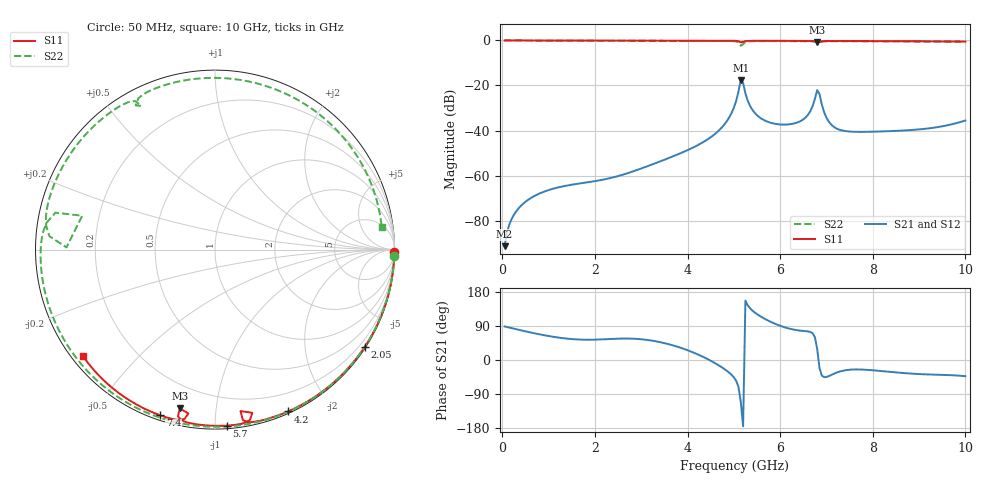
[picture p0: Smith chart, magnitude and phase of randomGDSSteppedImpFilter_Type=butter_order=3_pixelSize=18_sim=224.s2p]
! freq	dB(S11)	phase(S11)	dB(S12)	phase(S12)
!  dB(S21)	phase(S21)	dB(S22)	phase(S22)
!S-par simulation data
#  GHz  S  DB  R 50
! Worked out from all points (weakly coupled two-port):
!   200 points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, 50 MHz to 10 GHz, reference 50 ohm
!   highest |S21| = -17.56 dB at 5.15 GHz (marker M1); lowest = -91.4 dB at 50 MHz (marker M2)
!   lowest |S11| = -0.9 dB at 6.8 GHz (marker M3), VSWR 20.29, Z = 4.05 - j40 ohm
!   |S11| at or under -10 dB: nowhere
!   |S22| runs from -2.3 to 0.0 dB; largest |S21 - S12| = 0
!   S11 on the Smith chart (normalised r, x): 50 MHz: open; 2.05 GHz: 0.03, -3.37; 4.2 GHz: 0.02, -1.55; 5.7 GHz: 0.02, -1.07; 7.4 GHz: 0.02, -0.72; 10 GHz: 0.03, -0.35
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0.05  -0.00 -0.8  -91.36 88.5  -91.36 88.5  -0.00 -2.1
0.2  -0.00 -3.3  -79.37 84.1  -79.37 84.1  -0.01 -8.5
0.75  -0.02 -12.2  -68.47 69.1  -68.47 69.1  -0.04 -31.6
1.75  -0.04 -28.3  -63.27 53.6  -63.27 53.6  -0.09 -71.7
2.05  -0.04 -33.0  -62.30 53.9  -62.30 53.9  -0.10 -83.1
3.4  -0.07 -53.8  -53.79 47.3  -53.79 47.3  -0.16 -130.9
4.2  -0.09 -65.7  -46.74 15.9  -46.74 15.9  -0.19 -157.5
4.75  -0.11 -73.9  -38.41 -20.1  -38.41 -20.1  -0.23 -176.0
5.05  -0.20 -79.3  -26.86 -54.9  -26.86 -54.9  -0.44 171.0
5.15  -0.81 -81.0  -17.56 -110.8  -17.56 -110.8  -2.34 165.7
5.2  -0.61 -77.1  -18.90 -175.1  -18.90 -175.1  -1.65 179.2
5.3  -0.20 -79.7  -26.78 144.3  -26.78 144.3  -0.44 171.9
5.4  -0.16 -81.6  -30.79 130.5  -30.79 130.5  -0.33 167.0
5.7  -0.15 -86.2  -35.86 106.5  -35.86 106.5  -0.29 155.8
6.35  -0.18 -95.4  -36.58 78.9  -36.58 78.9  -0.32 133.5
6.7  -0.29 -101.2  -29.22 70.6  -29.22 70.6  -0.42 120.5
6.8  -0.86 -102.5  -22.08 28.6  -22.08 28.6  -0.91 117.2
7.05  -0.24 -103.3  -36.06 -42.6  -36.06 -42.6  -0.38 110.7
7.4  -0.24 -108.3  -40.22 -27.2  -40.22 -27.2  -0.37 98.1
8.35  -0.31 -120.5  -40.29 -31.0  -40.29 -31.0  -0.41 64.4
9.2  -0.39 -131.1  -39.08 -38.2  -39.08 -38.2  -0.46 34.5
10  -0.49 -141.1  -35.56 -42.8  -35.56 -42.8  -0.57 7.6
